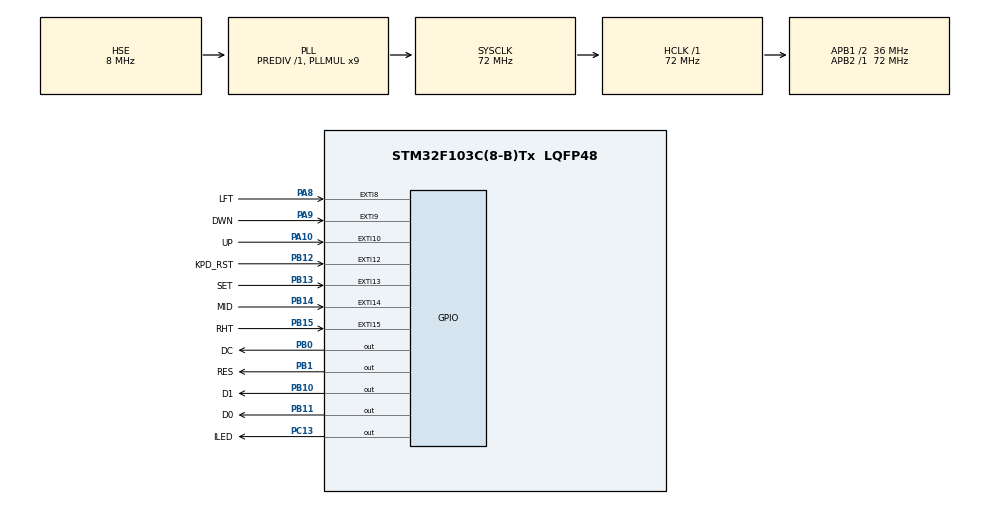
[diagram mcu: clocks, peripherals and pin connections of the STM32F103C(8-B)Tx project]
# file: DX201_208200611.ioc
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Mcu.Family=STM32F1
Mcu.Name=STM32F103C(8-B)Tx
Mcu.Package=LQFP48
NVIC.EXTI15_10_IRQn=true\:0\:0\:false\:false\:true\:true\:true\:true
NVIC.EXTI9_5_IRQn=true\:0\:0\:false\:false\:true\:true\:true\:true
NVIC.PriorityGroup=NVIC_PRIORITYGROUP_4
PA10.GPIO_Label=UP
PA10.GPIO_ModeDefaultEXTI=GPIO_MODE_IT_FALLING
PA10.GPIO_PuPd=GPIO_PULLUP
PA10.Signal=GPXTI10
PA8.GPIO_Label=LFT
PA8.GPIO_ModeDefaultEXTI=GPIO_MODE_IT_FALLING
PA8.GPIO_PuPd=GPIO_PULLUP
PA8.Signal=GPXTI8
PA9.GPIO_Label=DWN
PA9.GPIO_ModeDefaultEXTI=GPIO_MODE_IT_FALLING
PA9.GPIO_PuPd=GPIO_PULLUP
PA9.Signal=GPXTI9
PB0.GPIO_Label=DC
PB0.Signal=GPIO_Output
PB1.GPIO_Label=RES
PB1.Signal=GPIO_Output
PB10.GPIO_Label=D1
PB10.Signal=GPIO_Output
PB11.GPIO_Label=D0
PB11.Signal=GPIO_Output
PB12.GPIO_Label=KPD_RST
PB12.GPIO_ModeDefaultEXTI=GPIO_MODE_IT_FALLING
PB12.GPIO_PuPd=GPIO_PULLUP
PB12.Signal=GPXTI12
PB13.GPIO_Label=SET
PB13.GPIO_ModeDefaultEXTI=GPIO_MODE_IT_FALLING
PB13.GPIO_PuPd=GPIO_PULLUP
PB13.Signal=GPXTI13
PB14.GPIO_Label=MID
PB14.GPIO_ModeDefaultEXTI=GPIO_MODE_IT_FALLING
PB14.GPIO_PuPd=GPIO_PULLUP
PB14.Signal=GPXTI14
PB15.GPIO_Label=RHT
PB15.GPIO_ModeDefaultEXTI=GPIO_MODE_IT_FALLING
PB15.GPIO_PuPd=GPIO_PULLUP
PB15.Signal=GPXTI15
PC13-TAMPER-RTC.GPIO_Label=ILED
PC13-TAMPER-RTC.Signal=GPIO_Output
PD0-OSC_IN.Mode=HSE-External-Oscillator
PD0-OSC_IN.Signal=RCC_OSC_IN
PD1-OSC_OUT.Mode=HSE-External-Oscillator
PD1-OSC_OUT.Signal=RCC_OSC_OUT
ProjectManager.HeapSize=0x200
ProjectManager.StackSize=0x400
ProjectManager.TargetToolchain=STM32CubeIDE
RCC.AHBFreq_Value=72000000
RCC.APB1CLKDivider=RCC_HCLK_DIV2
RCC.APB1Freq_Value=36000000
RCC.APB1TimFreq_Value=72000000
RCC.APB2Freq_Value=72000000
RCC.APB2TimFreq_Value=72000000
RCC.HCLKFreq_Value=72000000
RCC.PLLMUL=RCC_PLL_MUL9
RCC.PLLSourceVirtual=RCC_PLLSOURCE_HSE
RCC.SYSCLKFreq_VALUE=72000000
RCC.SYSCLKSource=RCC_SYSCLKSOURCE_PLLCLK
RCC.USBFreq_Value=48000000
RCC.USBPrescaler=RCC_USBCLKSOURCE_PLL_DIV1_5
VP_IWDG_VS_IWDG.Mode=IWDG_Activate
VP_RTC_No_RTC_Output.Mode=RTC_OUT_NO
VP_RTC_VS_RTC_Activate.Mode=RTC_Enabled
VP_RTC_VS_RTC_Calendar.Mode=RTC_Calendar
VP_SYS_VS_ND.Mode=No_Debug
board=custom

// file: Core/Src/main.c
/* USER CODE BEGIN Header */
/**
 ******************************************************************************
 * @file           : main.c
 * @brief          : Main program body
 ******************************************************************************
 * @attention
 *
 * Copyright (c) 2023 STMicroelectronics.
 * All rights reserved.
 *
 * This software is licensed under terms that can be found in the LICENSE file
 * in the root directory of this software component.
 * If no LICENSE file comes with this software, it is provided AS-IS.
 *
 ******************************************************************************
 */

/**
 ******************************************************************************
 * NO LICENSE
 * 本项目包含至少一个未以任何开源协议授权的第三方源文件。为规避相关风险，本项目也不以任何开源协议授权。
 * 根据相关规定，本项目可以用于学习目的。除非明确获得授权，否则不应用于其他目的。
 *
 * This repo contains at least one thirdpart file that is not licensed opensource.
 * Use this repo only in educational purpose unless licensed.
 ******************************************************************************
 */

/* USER CODE END Header */
#include "main.h"

/* USER CODE BEGIN Includes */
#include <stdlib.h>
#include <time.h>
#include <string.h>
#include <stm32f1xx_ll_rcc.h>
#include "SimplePage_208200611.h"
#include "oled_208200611.h"
#include "bitmaps_208200611.h"
#include "flappy_208200611.h"
/* USER CODE END Includes */

/* USER CODE BEGIN PD */
#define MLCNT 2
/* USER CODE END PD */

IWDG_HandleTypeDef hiwdg;

RTC_HandleTypeDef hrtc;

extern UserInputHandler Flappy_ihan;
/* USER CODE BEGIN PV */
volatile SimplePage *CurrentPage;
SimplePage *SplashScreen, *HomeMenu, *TimerMenu, *Multilayer[MLCNT], *AboutMenu,
		*ErrorPage, *GHQrpage, *HomeQrpage, *Game;
u32 LastIntrTimestamp;

u32 AntiVibLen = 200;
/* USER CODE END PV */

void SystemClock_Config(void);
static void MX_GPIO_Init(void);
static void MX_RTC_Init(void);
static void MX_IWDG_Init(void);

/* USER CODE BEGIN 0 */

void GoBack(SimplePage *page) {
	if (page->Prev != NULL) {
		CurrentPage = page->Prev;
		CurrentPage->Changed = true;
	}
}

void ResetGdriver(void *_) { //用于手动重置屏幕
	OLED_Init();
	OLED_Display_On();
	CurrentPage->Changed = true; //触发屏幕重绘
}

void HAL_GPIO_EXTI_Callback(uint16_t GPIO_Pin) {
	u32 now = NativeTimestampMs();
	if (now - LastIntrTimestamp < AntiVibLen)
		return;
	LastIntrTimestamp = now;

	if (CurrentPage->InputHandler != NULL) {
		switch (GPIO_Pin) {
		case UP_Pin:
			CurrentPage->PendingRawInput = CurrentPage->InputHandler->Up;
			break;
		case DWN_Pin:
			CurrentPage->PendingRawInput = CurrentPage->InputHandler->Down;
			break;
		case LFT_Pin:
			CurrentPage->PendingRawInput = CurrentPage->InputHandler->Left;
			break;
		case RHT_Pin:
			CurrentPage->PendingRawInput = CurrentPage->InputHandler->Right;
			break;
		case MID_Pin:
			CurrentPage->PendingRawInput = CurrentPage->InputHandler->Mid;
			break;
		case KPD_RST_Pin:
			CurrentPage->PendingRawInput = CurrentPage->InputHandler->Reset;
			break;
		case SET_Pin:
			CurrentPage->PendingRawInput = CurrentPage->InputHandler->Set;
			break;
		}
		return;
	}

	switch (GPIO_Pin) {
	case UP_Pin:
		MenuSelectPrev(CurrentPage);
		break;
	case DWN_Pin:
		MenuSelectNext(CurrentPage);
		break;
	case LFT_Pin:
		GoBack(CurrentPage);
		break;
	case RHT_Pin:

		break;
	case MID_Pin:
		MenuClick(CurrentPage);
		break;
	case KPD_RST_Pin:
		NVIC_SystemReset();
		break;
	case SET_Pin:
		CurrentPage = HomeMenu;
		CurrentPage->Changed = true;
		break;
	}
}

void SwitchPage(Label *source) {
	if (source->LinkTo != NULL) {
		source->LinkTo->Prev = CurrentPage;
		CurrentPage = source->LinkTo;
		CurrentPage->Changed = true;
	}
}

u32 CurrentTimestamp() {
	RTC_TimeTypeDef time;
	RTC_DateTypeDef date;
	struct tm tm_new;
	HAL_RTC_GetTime(&hrtc, &time, RTC_FORMAT_BIN);
	HAL_RTC_GetDate(&hrtc, &date, RTC_FORMAT_BIN);
	tm_new.tm_sec = time.Seconds;
	tm_new.tm_min = time.Minutes;
	tm_new.tm_hour = time.Hours;
	tm_new.tm_mday = date.Date;
	tm_new.tm_mon = date.Month - 1;
	tm_new.tm_year = date.Year + 100;
	return mktime(&tm_new);
}

inline u32 NativeTimestampMs() {
	return HAL_GetTick();
}

volatile u8 IsTimerRunning;
u32 StartTs = 0, LastTs = 0;
char timestrbuf[16];

void TimerStart() {
	IsTimerRunning = true;
	StartTs = NativeTimestampMs();
	TimerMenu->Line2->Text = "Zero";
	TimerMenu->Line2->Changed = true;
}

void TimerStop() {
	IsTimerRunning = 0;
	TimerMenu->Line2->Text = "Start";
	TimerMenu->Line2->Changed = true;
}

void TimerUpdate(SimplePage *page) {
	if (IsTimerRunning) {
		u32 now = NativeTimestampMs();
		if (now != LastTs) {
			u32 len1; // = strlen(timestrbuf);
			itoa(((now - StartTs) / 1000), timestrbuf, 10);
			len1 = strlen(timestrbuf);
			timestrbuf[len1] = '.';
			itoa(((now - StartTs) % 1000), timestrbuf + len1 + 1, 10);
			page->Line1->Text = timestrbuf;
			page->Line1->Changed = true;
			LastTs = now;
		}
	}
}

void DrawQrGH(SimplePage *page) {
	if (!page->Changed)
		return;
	OLED_Clear();
	OLED_DrawBMP(32, 0, 64 + 32, 8, GHQR);
	page->Changed = false;
}

void DrawQr(SimplePage *page) {
	if (!page->Changed)
		return;
	OLED_Clear();
	OLED_DrawBMP(32, 0, 64 + 32, 8, HMQR);
	page->Changed = false;
}

void Splash(SimplePage *page) {
	if (NativeTimestampMs() > 1000) {
		CurrentPage = HomeMenu;
		return;
	}
	if (!page->Changed)
		return;
	OLED_Clear();
	OLED_DrawBMP(0, 0, 128, 8, SPLASHBM);
	page->Changed = false;
}
/* USER CODE END 0 */

int main(void) {
	/* USER CODE BEGIN 1 */
	//初始化各个界�??
	HomeMenu = EmptyPage();
	TimerMenu = EmptyPage();
	AboutMenu = EmptyPage();
	ErrorPage = EmptyPage();
	GHQrpage = EmptyPage();
	HomeQrpage = EmptyPage();
	SplashScreen = EmptyPage();
	Game = EmptyPage();
	CurrentPage = SplashScreen;
	int ii = 0;
	SimplePage *lastpage = EmptyPage();
	for (ii = 0; ii < MLCNT; ii++) {
		SimplePage *page = EmptyPage();
		Multilayer[ii] = page;
		u8 *bufii = (u8*) malloc(3 * sizeof(u8));
		itoa(ii, bufii, 10);
		page->Title = bufii;
		page->Line1->Text = "->Child Menu";
		page->Line2->Text = "->Child Menu";
		page->Line3->Text = "->Child Menu";

		if (lastpage != NULL) {
			lastpage->Line1->LinkTo = page;
			lastpage->Line1->OnClick = SwitchPage;
			lastpage->Line2->LinkTo = page;
			lastpage->Line2->OnClick = SwitchPage;
			lastpage->Line3->LinkTo = page;
			lastpage->Line3->OnClick = SwitchPage;
		}
		lastpage = page;
	}
	lastpage->Line1->Text = "Game";
	lastpage->Line1->LinkTo = Game;
	lastpage->Line1->OnClick = SwitchPage;

	/*
	 Multilayer[MLCNT-1].Line2->Text = "No more child";
	 Multilayer[MLCNT-1].Line2->LinkTo = NULL;
	 Multilayer[MLCNT-1].Line2->OnClick = NULL;
	 */

	HomeMenu->Title = "Home";

	HomeMenu->Line1->Text = "Timer";
	HomeMenu->Line1->LinkTo = TimerMenu;
	HomeMenu->Line1->OnClick = SwitchPage;

	HomeMenu->Line2->Text = "Multilayer";
	HomeMenu->Line2->LinkTo = *Multilayer;
	HomeMenu->Line2->OnClick = SwitchPage;

	HomeMenu->Line3->Text = "About";
	HomeMenu->Line3->LinkTo = AboutMenu;
	HomeMenu->Line3->OnClick = SwitchPage;

	TimerMenu->Title = "Timer";
	TimerMenu->SelectedIndex = 2; //Line1 = 1, Line2 = 2,etc
	TimerMenu->BeforeUpdate = TimerUpdate;

	TimerMenu->Line1->Text = "0";
	TimerMenu->Line1->Selectable = false; // 不可选中

	TimerMenu->Line2->Text = "Start";
	TimerMenu->Line2->OnClick = TimerStart;

	TimerMenu->Line3->Text = "Stop";
	TimerMenu->Line3->OnClick = TimerStop;

	AboutMenu->Title = "About";

	AboutMenu->Line1->Text = "Blog  msgp.tech";
	//AboutMenu->Line1->Selectable = false; // 不可选中
	AboutMenu->Line1->LinkTo = HomeQrpage;
	AboutMenu->Line1->OnClick = SwitchPage;

	AboutMenu->Line2->Text = "Github  Dev_ken";
	//AboutMenu->Line2->Selectable = false; // 不可选中
	AboutMenu->Line2->LinkTo = GHQrpage;
	AboutMenu->Line2->OnClick = SwitchPage;

	AboutMenu->Line3->Text = "208200611";
	AboutMenu->Line3->Selectable = false; // 不可选中
	AboutMenu->Line3->Centered = true;

	ErrorPage->Title = "IWDG RESET";

	ErrorPage->Line1->Text = "An watchdog over";
	ErrorPage->Line1->Selectable = false; // 不可选中

	ErrorPage->Line2->Text = "flow detected.";
	ErrorPage->Line2->Selectable = false; // 不可选中

	ErrorPage->Line3->Text = "- Press SET -";
	ErrorPage->Line3->Selectable = false; // 不可选中
	ErrorPage->Line3->Centered = true; // 居中

	HomeQrpage->SelfRender = true;
	HomeQrpage->BeforeUpdate = DrawQr;

	GHQrpage->SelfRender = true;
	GHQrpage->BeforeUpdate = DrawQrGH;

	SplashScreen->SelfRender = true;
	SplashScreen->BeforeUpdate = Splash;

	Game->SelfRender = true;
	Game->BeforeUpdate = Flappy_Update;
	Game->InputHandler = &Flappy_ihan;

	if (LL_RCC_IsActiveFlag_IWDGRST()) {
		LL_RCC_ClearResetFlags();
		CurrentPage = ErrorPage;
		CurrentPage->Changed = true;
	}
	/* USER CODE END 1 */

	/* MCU Configuration--------------------------------------------------------*/

	/* Reset of all peripherals, Initializes the Flash interface and the Systick. */
	HAL_Init();

	/* Configure the system clock */
	SystemClock_Config();

	/* Initialize all configured peripherals */
	MX_GPIO_Init();
	MX_RTC_Init();
	MX_IWDG_Init();
	/* USER CODE BEGIN 2 */
	OLED_Init();
	OLED_Display_On();
	/* USER CODE END 2 */

	/* Infinite loop */
	/* USER CODE BEGIN WHILE */
	while (1) {
		HAL_IWDG_Refresh(&hiwdg);
		UpdatePage(CurrentPage);
		/* USER CODE END WHILE */

	}
}

void SystemClock_Config(void) {
	RCC_OscInitTypeDef RCC_OscInitStruct = { 0 };
	RCC_ClkInitTypeDef RCC_ClkInitStruct = { 0 };
	RCC_PeriphCLKInitTypeDef PeriphClkInit = { 0 };

	/** Initializes the RCC Oscillators according to the specified parameters
	 * in the RCC_OscInitTypeDef structure.
	 */
	RCC_OscInitStruct.OscillatorType = RCC_OSCILLATORTYPE_LSI
			| RCC_OSCILLATORTYPE_HSE;
	RCC_OscInitStruct.HSEState = RCC_HSE_ON;
	RCC_OscInitStruct.HSEPredivValue = RCC_HSE_PREDIV_DIV1;
	RCC_OscInitStruct.HSIState = RCC_HSI_ON;
	RCC_OscInitStruct.LSIState = RCC_LSI_ON;
	RCC_OscInitStruct.PLL.PLLState = RCC_PLL_ON;
	RCC_OscInitStruct.PLL.PLLSource = RCC_PLLSOURCE_HSE;
	RCC_OscInitStruct.PLL.PLLMUL = RCC_PLL_MUL9;
	if (HAL_RCC_OscConfig(&RCC_OscInitStruct) != HAL_OK) {
		Error_Handler();
	}

	/** Initializes the CPU, AHB and APB buses clocks
	 */
	RCC_ClkInitStruct.ClockType = RCC_CLOCKTYPE_HCLK | RCC_CLOCKTYPE_SYSCLK
			| RCC_CLOCKTYPE_PCLK1 | RCC_CLOCKTYPE_PCLK2;
	RCC_ClkInitStruct.SYSCLKSource = RCC_SYSCLKSOURCE_PLLCLK;
	RCC_ClkInitStruct.AHBCLKDivider = RCC_SYSCLK_DIV1;
	RCC_ClkInitStruct.APB1CLKDivider = RCC_HCLK_DIV2;
	RCC_ClkInitStruct.APB2CLKDivider = RCC_HCLK_DIV1;

	if (HAL_RCC_ClockConfig(&RCC_ClkInitStruct, FLASH_LATENCY_2) != HAL_OK) {
		Error_Handler();
	}
	PeriphClkInit.PeriphClockSelection = RCC_PERIPHCLK_RTC;
	PeriphClkInit.RTCClockSelection = RCC_RTCCLKSOURCE_LSI;
	if (HAL_RCCEx_PeriphCLKConfig(&PeriphClkInit) != HAL_OK) {
		Error_Handler();
	}
}

static void MX_IWDG_Init(void) {

	hiwdg.Instance = IWDG;
	hiwdg.Init.Prescaler = IWDG_PRESCALER_4;
	hiwdg.Init.Reload = 4095;
	if (HAL_IWDG_Init(&hiwdg) != HAL_OK) {
		Error_Handler();
	}

}

static void MX_RTC_Init(void) {

	RTC_TimeTypeDef sTime = { 0 };
	RTC_DateTypeDef DateToUpdate = { 0 };

	/** Initialize RTC Only
	 */
	hrtc.Instance = RTC;
	hrtc.Init.AsynchPrediv = RTC_AUTO_1_SECOND;
	hrtc.Init.OutPut = RTC_OUTPUTSOURCE_NONE;
	if (HAL_RTC_Init(&hrtc) != HAL_OK) {
		Error_Handler();
	}

	/** Initialize RTC and set the Time and Date
	 */
	sTime.Hours = 0x0;
	sTime.Minutes = 0x0;
	sTime.Seconds = 0x0;

	if (HAL_RTC_SetTime(&hrtc, &sTime, RTC_FORMAT_BCD) != HAL_OK) {
		Error_Handler();
	}
	DateToUpdate.WeekDay = RTC_WEEKDAY_MONDAY;
	DateToUpdate.Month = RTC_MONTH_JANUARY;
	DateToUpdate.Date = 0x1;
	DateToUpdate.Year = 0x0;

	if (HAL_RTC_SetDate(&hrtc, &DateToUpdate, RTC_FORMAT_BCD) != HAL_OK) {
		Error_Handler();
	}

}

static void MX_GPIO_Init(void) {
	GPIO_InitTypeDef GPIO_InitStruct = { 0 };

	/* GPIO Ports Clock Enable */
	__HAL_RCC_GPIOC_CLK_ENABLE();
	__HAL_RCC_GPIOD_CLK_ENABLE();
	__HAL_RCC_GPIOB_CLK_ENABLE();
	__HAL_RCC_GPIOA_CLK_ENABLE();

	/*Configure GPIO pin Output Level */
	HAL_GPIO_WritePin(ILED_GPIO_Port, ILED_Pin, GPIO_PIN_RESET);

	/*Configure GPIO pin Output Level */
	HAL_GPIO_WritePin(GPIOB, DC_Pin | RES_Pin | D1_Pin | D0_Pin,
			GPIO_PIN_RESET);

	/*Configure GPIO pin : ILED_Pin */
	GPIO_InitStruct.Pin = ILED_Pin;
	GPIO_InitStruct.Mode = GPIO_MODE_OUTPUT_PP;
	GPIO_InitStruct.Pull = GPIO_NOPULL;
	GPIO_InitStruct.Speed = GPIO_SPEED_FREQ_LOW;
	HAL_GPIO_Init(ILED_GPIO_Port, &GPIO_InitStruct);

	/*Configure GPIO pins : DC_Pin RES_Pin D1_Pin D0_Pin */
	GPIO_InitStruct.Pin = DC_Pin | RES_Pin | D1_Pin | D0_Pin;
	GPIO_InitStruct.Mode = GPIO_MODE_OUTPUT_PP;
	GPIO_InitStruct.Pull = GPIO_NOPULL;
	GPIO_InitStruct.Speed = GPIO_SPEED_FREQ_LOW;
	HAL_GPIO_Init(GPIOB, &GPIO_InitStruct);

	/*Configure GPIO pins : KPD_RST_Pin SET_Pin MID_Pin RHT_Pin */
	GPIO_InitStruct.Pin = KPD_RST_Pin | SET_Pin | MID_Pin | RHT_Pin;
	GPIO_InitStruct.Mode = GPIO_MODE_IT_FALLING;
	GPIO_InitStruct.Pull = GPIO_PULLUP;
	HAL_GPIO_Init(GPIOB, &GPIO_InitStruct);

	/*Configure GPIO pins : LFT_Pin DWN_Pin UP_Pin */
	GPIO_InitStruct.Pin = LFT_Pin | DWN_Pin | UP_Pin;
	GPIO_InitStruct.Mode = GPIO_MODE_IT_FALLING;
	GPIO_InitStruct.Pull = GPIO_PULLUP;
	HAL_GPIO_Init(GPIOA, &GPIO_InitStruct);

	/* EXTI interrupt init*/
	HAL_NVIC_SetPriority(EXTI9_5_IRQn, 0, 0);
	HAL_NVIC_EnableIRQ(EXTI9_5_IRQn);

	HAL_NVIC_SetPriority(EXTI15_10_IRQn, 0, 0);
	HAL_NVIC_EnableIRQ(EXTI15_10_IRQn);

}

void Error_Handler(void) {
	__disable_irq();
	while (1) {
	}
}
